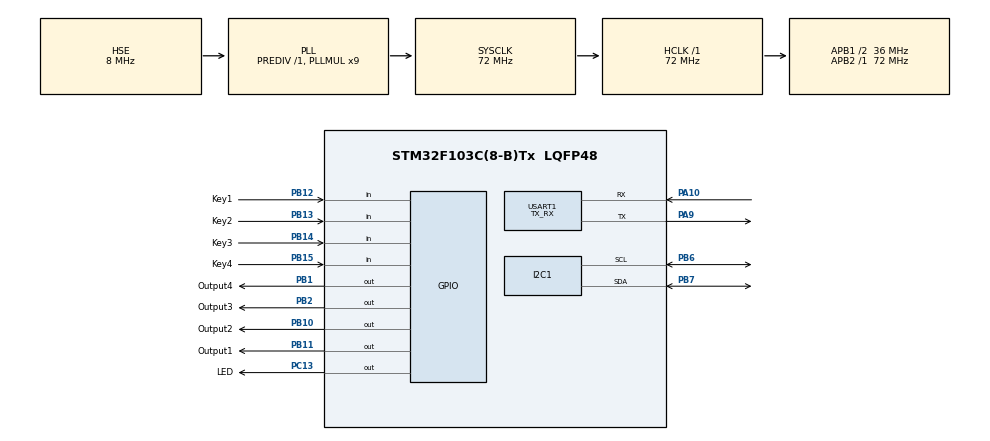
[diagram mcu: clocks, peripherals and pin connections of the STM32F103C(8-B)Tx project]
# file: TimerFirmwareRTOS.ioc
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Dma.Request0=USART1_RX
Dma.USART1_RX.0.Direction=DMA_PERIPH_TO_MEMORY
Dma.USART1_RX.0.Instance=DMA1_Channel5
Dma.USART1_RX.0.MemDataAlignment=DMA_MDATAALIGN_BYTE
Dma.USART1_RX.0.MemInc=DMA_MINC_ENABLE
Dma.USART1_RX.0.Mode=DMA_NORMAL
Dma.USART1_RX.0.PeriphDataAlignment=DMA_PDATAALIGN_BYTE
Dma.USART1_RX.0.PeriphInc=DMA_PINC_DISABLE
Dma.USART1_RX.0.Priority=DMA_PRIORITY_MEDIUM
FREERTOS.INCLUDE_vTaskDelayUntil=1
FREERTOS.MEMORY_ALLOCATION=1
FREERTOS.Tasks01=timerTask,2,128,StartTimerTask,Default,NULL,Static,timerTaskBuffer,timerTaskControlBlock
FREERTOS.configTOTAL_HEAP_SIZE=2048
FREERTOS.configUSE_TICKLESS_IDLE=0
FREERTOS.configUSE_TIMERS=1
Mcu.Family=STM32F1
Mcu.Name=STM32F103C(8-B)Tx
Mcu.Package=LQFP48
NVIC.DMA1_Channel5_IRQn=true\:5\:0\:false\:false\:true\:true\:false\:true
NVIC.PriorityGroup=NVIC_PRIORITYGROUP_4
NVIC.TIM1_UP_IRQn=true\:15\:0\:false\:false\:true\:false\:false\:true
NVIC.TimeBase=TIM1_UP_IRQn
NVIC.TimeBaseIP=TIM1
NVIC.USART1_IRQn=true\:5\:0\:false\:false\:true\:true\:true\:true
PA10.Mode=Asynchronous
PA10.Signal=USART1_RX
PA13.Mode=Serial_Wire
PA13.Signal=SYS_JTMS-SWDIO
PA14.Mode=Serial_Wire
PA14.Signal=SYS_JTCK-SWCLK
PA9.Mode=Asynchronous
PA9.Signal=USART1_TX
PB1.GPIO_Label=Output4
PB1.Signal=GPIO_Output
PB10.GPIO_Label=Output2
PB10.Signal=GPIO_Output
PB11.GPIO_Label=Output1
PB11.Signal=GPIO_Output
PB12.GPIO_Label=Key1
PB12.GPIO_PuPd=GPIO_PULLDOWN
PB12.Signal=GPIO_Input
PB13.GPIO_Label=Key2
PB13.GPIO_PuPd=GPIO_PULLDOWN
PB13.Signal=GPIO_Input
PB14.GPIO_Label=Key3
PB14.GPIO_PuPd=GPIO_PULLDOWN
PB14.Signal=GPIO_Input
PB15.GPIO_Label=Key4
PB15.GPIO_PuPd=GPIO_PULLDOWN
PB15.Signal=GPIO_Input
PB2.GPIO_Label=Output3
PB2.Signal=GPIO_Output
PB6.Mode=I2C
PB6.Signal=I2C1_SCL
PB7.Mode=I2C
PB7.Signal=I2C1_SDA
PC13-TAMPER-RTC.GPIO_Label=LED
PC13-TAMPER-RTC.GPIO_Speed=GPIO_SPEED_FREQ_MEDIUM
PC13-TAMPER-RTC.PinState=GPIO_PIN_SET
PC13-TAMPER-RTC.Signal=GPIO_Output
PC14-OSC32_IN.Mode=LSE-External-Oscillator
PC14-OSC32_IN.Signal=RCC_OSC32_IN
PC15-OSC32_OUT.Mode=LSE-External-Oscillator
PC15-OSC32_OUT.Signal=RCC_OSC32_OUT
PD0-OSC_IN.Mode=HSE-External-Oscillator
PD0-OSC_IN.Signal=RCC_OSC_IN
PD1-OSC_OUT.Mode=HSE-External-Oscillator
PD1-OSC_OUT.Signal=RCC_OSC_OUT
ProjectManager.HeapSize=0x200
ProjectManager.StackSize=0x400
ProjectManager.TargetToolchain=MDK-ARM V5.32
RCC.AHBFreq_Value=72000000
RCC.APB1CLKDivider=RCC_HCLK_DIV2
RCC.APB1Freq_Value=36000000
RCC.APB1TimFreq_Value=72000000
RCC.APB2Freq_Value=72000000
RCC.APB2TimFreq_Value=72000000
RCC.HCLKFreq_Value=72000000
RCC.PLLMUL=RCC_PLL_MUL9
RCC.PLLSourceVirtual=RCC_PLLSOURCE_HSE
RCC.RTCClockSelection=RCC_RTCCLKSOURCE_LSE
RCC.SYSCLKFreq_VALUE=72000000
RCC.SYSCLKSource=RCC_SYSCLKSOURCE_PLLCLK
RCC.USBFreq_Value=72000000
USART1.Mode=MODE_TX_RX
USART1.VirtualMode=VM_ASYNC
VP_FREERTOS_VS_CMSIS_V1.Mode=CMSIS_V1
VP_RTC_VS_RTC_Activate.Mode=RTC_Enabled
VP_RTC_VS_RTC_Calendar.Mode=RTC_Calendar
VP_SYS_VS_tim1.Mode=TIM1
board=custom

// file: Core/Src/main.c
/* USER CODE BEGIN Header */
/**
  ******************************************************************************
  * @file           : main.c
  * @brief          : Main program body
  ******************************************************************************
  * @attention
  *
  * Copyright (c) 2022 STMicroelectronics.
  * All rights reserved.
  *
  * This software is licensed under terms that can be found in the LICENSE file
  * in the root directory of this software component.
  * If no LICENSE file comes with this software, it is provided AS-IS.
  *
  ******************************************************************************
  */
/* USER CODE END Header */
#include "main.h"
#include "cmsis_os.h"

/* USER CODE BEGIN Includes */
#include "Timer.h"
#include "UserInterface.h"
#include "eeprom.h"
#include <string.h>
/* USER CODE END Includes */

I2C_HandleTypeDef hi2c1;
RTC_HandleTypeDef hrtc;
UART_HandleTypeDef huart1;
DMA_HandleTypeDef hdma_usart1_rx;

void SystemClock_Config(void);
static void MX_GPIO_Init(void);
static void MX_I2C1_Init(void);
static void MX_RTC_Init(void);
static void MX_DMA_Init(void);
static void MX_USART1_UART_Init(void);

int main(void)
{

  /* MCU Configuration--------------------------------------------------------*/

  /* Reset of all peripherals, Initializes the Flash interface and the Systick. */
  HAL_Init();

  /* Configure the system clock */
  SystemClock_Config();

  /* USER CODE BEGIN SysInit */
	HAL_Delay(3000);
  /* USER CODE END SysInit */

  /* Initialize all configured peripherals */
  MX_GPIO_Init();
  MX_I2C1_Init();
  MX_RTC_Init();
  MX_DMA_Init();
  MX_USART1_UART_Init();
  /* USER CODE BEGIN 2 */
  Timer_Init();
	UserInterface_Init();
  /* USER CODE END 2 */

  /* Create the thread(s) */

  /* Start scheduler */
  osKernelStart();

  /* We should never get here as control is now taken by the scheduler */
  /* Infinite loop */
  while (1)
  {

  }
}

void SystemClock_Config(void)
{
  RCC_OscInitTypeDef RCC_OscInitStruct = {0};
  RCC_ClkInitTypeDef RCC_ClkInitStruct = {0};
  RCC_PeriphCLKInitTypeDef PeriphClkInit = {0};

  /** Initializes the RCC Oscillators according to the specified parameters
  * in the RCC_OscInitTypeDef structure.
  */
  RCC_OscInitStruct.OscillatorType = RCC_OSCILLATORTYPE_HSE|RCC_OSCILLATORTYPE_LSE;
  RCC_OscInitStruct.HSEState = RCC_HSE_ON;
  RCC_OscInitStruct.HSEPredivValue = RCC_HSE_PREDIV_DIV1;
  RCC_OscInitStruct.LSEState = RCC_LSE_ON;
  RCC_OscInitStruct.HSIState = RCC_HSI_ON;
  RCC_OscInitStruct.PLL.PLLState = RCC_PLL_ON;
  RCC_OscInitStruct.PLL.PLLSource = RCC_PLLSOURCE_HSE;
  RCC_OscInitStruct.PLL.PLLMUL = RCC_PLL_MUL9;
  if (HAL_RCC_OscConfig(&RCC_OscInitStruct) != HAL_OK)
  {
    Error_Handler();
  }
  /** Initializes the CPU, AHB and APB buses clocks
  */
  RCC_ClkInitStruct.ClockType = RCC_CLOCKTYPE_HCLK|RCC_CLOCKTYPE_SYSCLK
                              |RCC_CLOCKTYPE_PCLK1|RCC_CLOCKTYPE_PCLK2;
  RCC_ClkInitStruct.SYSCLKSource = RCC_SYSCLKSOURCE_PLLCLK;
  RCC_ClkInitStruct.AHBCLKDivider = RCC_SYSCLK_DIV1;
  RCC_ClkInitStruct.APB1CLKDivider = RCC_HCLK_DIV2;
  RCC_ClkInitStruct.APB2CLKDivider = RCC_HCLK_DIV1;

  if (HAL_RCC_ClockConfig(&RCC_ClkInitStruct, FLASH_LATENCY_2) != HAL_OK)
  {
    Error_Handler();
  }
  PeriphClkInit.PeriphClockSelection = RCC_PERIPHCLK_RTC;
  PeriphClkInit.RTCClockSelection = RCC_RTCCLKSOURCE_LSE;
  if (HAL_RCCEx_PeriphCLKConfig(&PeriphClkInit) != HAL_OK)
  {
    Error_Handler();
  }
}

static void MX_I2C1_Init(void)
{

  hi2c1.Instance = I2C1;
  hi2c1.Init.ClockSpeed = 100000;
  hi2c1.Init.DutyCycle = I2C_DUTYCYCLE_2;
  hi2c1.Init.OwnAddress1 = 0;
  hi2c1.Init.AddressingMode = I2C_ADDRESSINGMODE_7BIT;
  hi2c1.Init.DualAddressMode = I2C_DUALADDRESS_DISABLE;
  hi2c1.Init.OwnAddress2 = 0;
  hi2c1.Init.GeneralCallMode = I2C_GENERALCALL_DISABLE;
  hi2c1.Init.NoStretchMode = I2C_NOSTRETCH_DISABLE;
  if (HAL_I2C_Init(&hi2c1) != HAL_OK)
  {
    Error_Handler();
  }

}

static void MX_RTC_Init(void)
{

  RTC_TimeTypeDef sTime = {0};
  RTC_DateTypeDef DateToUpdate = {0};

  /** Initialize RTC Only
  */
  hrtc.Instance = RTC;
  hrtc.Init.AsynchPrediv = RTC_AUTO_1_SECOND;
  hrtc.Init.OutPut = RTC_OUTPUTSOURCE_ALARM;
  if (HAL_RTC_Init(&hrtc) != HAL_OK)
  {
    Error_Handler();
  }

  /* USER CODE BEGIN Check_RTC_BKUP */
	if (HAL_RTCEx_BKUPRead(&hrtc, RTC_BKP_DR1) != 0x1235)
  {
  /* USER CODE END Check_RTC_BKUP */

		/** Initialize RTC and set the Time and Date
		*/
		sTime.Hours = 0x0;
		sTime.Minutes = 0x0;
		sTime.Seconds = 0x0;

		if (HAL_RTC_SetTime(&hrtc, &sTime, RTC_FORMAT_BCD) != HAL_OK)
		{
			Error_Handler();
		}
		DateToUpdate.WeekDay = RTC_WEEKDAY_MONDAY;
		DateToUpdate.Month = RTC_MONTH_JANUARY;
		DateToUpdate.Date = 0x1;
		DateToUpdate.Year = 0x0;

		if (HAL_RTC_SetDate(&hrtc, &DateToUpdate, RTC_FORMAT_BCD) != HAL_OK)
		{
			Error_Handler();
		}
		/* USER CODE BEGIN RTC_Init 2 */
		// Write Back Up Register 1 Data
    HAL_PWR_EnableBkUpAccess();
    // Writes a data in a RTC Backup data Register 1
    HAL_RTCEx_BKUPWrite(&hrtc, RTC_BKP_DR1, 0x1235);
    HAL_PWR_DisableBkUpAccess();
	}
  /* USER CODE END RTC_Init 2 */

}

static void MX_USART1_UART_Init(void)
{

  huart1.Instance = USART1;
  huart1.Init.BaudRate = 115200;
  huart1.Init.WordLength = UART_WORDLENGTH_8B;
  huart1.Init.StopBits = UART_STOPBITS_1;
  huart1.Init.Parity = UART_PARITY_NONE;
  huart1.Init.Mode = UART_MODE_TX_RX;
  huart1.Init.HwFlowCtl = UART_HWCONTROL_NONE;
  huart1.Init.OverSampling = UART_OVERSAMPLING_16;
  if (HAL_UART_Init(&huart1) != HAL_OK)
  {
    Error_Handler();
  }

}

static void MX_DMA_Init(void)
{

  /* DMA controller clock enable */
  __HAL_RCC_DMA1_CLK_ENABLE();

  /* DMA interrupt init */
  /* DMA1_Channel5_IRQn interrupt configuration */
  HAL_NVIC_SetPriority(DMA1_Channel5_IRQn, 5, 0);
  HAL_NVIC_EnableIRQ(DMA1_Channel5_IRQn);

}

static void MX_GPIO_Init(void)
{
  GPIO_InitTypeDef GPIO_InitStruct = {0};

  /* GPIO Ports Clock Enable */
  __HAL_RCC_GPIOC_CLK_ENABLE();
  __HAL_RCC_GPIOD_CLK_ENABLE();
  __HAL_RCC_GPIOB_CLK_ENABLE();
  __HAL_RCC_GPIOA_CLK_ENABLE();

  /*Configure GPIO pin Output Level */
  HAL_GPIO_WritePin(LED_GPIO_Port, LED_Pin, GPIO_PIN_SET);

  /*Configure GPIO pin Output Level */
  HAL_GPIO_WritePin(GPIOB, Output4_Pin|Output3_Pin|Output2_Pin|Output1_Pin, GPIO_PIN_RESET);

  /*Configure GPIO pin : LED_Pin */
  GPIO_InitStruct.Pin = LED_Pin;
  GPIO_InitStruct.Mode = GPIO_MODE_OUTPUT_PP;
  GPIO_InitStruct.Pull = GPIO_NOPULL;
  GPIO_InitStruct.Speed = GPIO_SPEED_FREQ_MEDIUM;
  HAL_GPIO_Init(LED_GPIO_Port, &GPIO_InitStruct);

  /*Configure GPIO pins : Output4_Pin Output3_Pin Output2_Pin Output1_Pin */
  GPIO_InitStruct.Pin = Output4_Pin|Output3_Pin|Output2_Pin|Output1_Pin;
  GPIO_InitStruct.Mode = GPIO_MODE_OUTPUT_PP;
  GPIO_InitStruct.Pull = GPIO_NOPULL;
  GPIO_InitStruct.Speed = GPIO_SPEED_FREQ_LOW;
  HAL_GPIO_Init(GPIOB, &GPIO_InitStruct);

  /*Configure GPIO pins : Key1_Pin Key2_Pin Key3_Pin Key4_Pin */
  GPIO_InitStruct.Pin = Key1_Pin|Key2_Pin|Key3_Pin|Key4_Pin;
  GPIO_InitStruct.Mode = GPIO_MODE_INPUT;
  GPIO_InitStruct.Pull = GPIO_PULLDOWN;
  HAL_GPIO_Init(GPIOB, &GPIO_InitStruct);

}

void HAL_TIM_PeriodElapsedCallback(TIM_HandleTypeDef *htim)
{
  if (htim->Instance == TIM1) {
    HAL_IncTick();
  }
}

void Error_Handler(void)
{
  __disable_irq();
  while (1)
  {
  }
}

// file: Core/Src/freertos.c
/* USER CODE BEGIN Header */
/**
  ******************************************************************************
  * File Name          : freertos.c
  * Description        : Code for freertos applications
  ******************************************************************************
  * @attention
  *
  * Copyright (c) 2022 STMicroelectronics.
  * All rights reserved.
  *
  * This software is licensed under terms that can be found in the LICENSE file
  * in the root directory of this software component.
  * If no LICENSE file comes with this software, it is provided AS-IS.
  *
  ******************************************************************************
  */
/* USER CODE END Header */

#include "FreeRTOS.h"
#include "task.h"
#include "main.h"

/* USER CODE BEGIN Includes */
#include "UserInterface.h"
#include "cmsis_os.h"

/* USER CODE END Includes */

/* USER CODE BEGIN Variables */
extern UiHandle uih;
extern osTimerId sleepTimerHandle;
extern osMutexId sleepTimerMutexHandle;
extern uint8_t sleepTimerCallbackExecuted;
/* USER CODE END Variables */

/* GetIdleTaskMemory prototype (linked to static allocation support) */
void vApplicationGetIdleTaskMemory( StaticTask_t **ppxIdleTaskTCBBuffer, StackType_t **ppxIdleTaskStackBuffer, uint32_t *pulIdleTaskStackSize );

/* GetTimerTaskMemory prototype (linked to static allocation support) */
void vApplicationGetTimerTaskMemory( StaticTask_t **ppxTimerTaskTCBBuffer, StackType_t **ppxTimerTaskStackBuffer, uint32_t *pulTimerTaskStackSize );

/* USER CODE BEGIN PREPOSTSLEEP */
__weak void PreSleepProcessing(uint32_t *ulExpectedIdleTime)
{
	if (sleepTimerCallbackExecuted == pdFALSE)
		return;

	if (xSemaphoreTake(sleepTimerMutexHandle, 0))
	{
		*ulExpectedIdleTime = 0;

		UserInterface_TurnOffScreen(&uih);
		xTimerStop(sleepTimerHandle, 100);

		HAL_EnableDBGSleepMode();
		__disable_irq();
		HAL_SuspendTick();
		__dsb( portSY_FULL_READ_WRITE );
		HAL_PWR_EnterSLEEPMode(PWR_MAINREGULATOR_ON, PWR_SLEEPENTRY_WFI);
		__isb( portSY_FULL_READ_WRITE );
		HAL_ResumeTick();
		__enable_irq();
		HAL_DisableDBGSleepMode();

		/*HAL_SuspendTick();
		__HAL_RCC_PWR_CLK_ENABLE();
		HAL_PWR_EnterSTOPMode(PWR_LOWPOWERREGULATOR_ON, PWR_STOPENTRY_WFE);
		HAL_ResumeTick();
		SystemClock_Config();*/

	} else {
		xTimerReset(sleepTimerHandle, 100);
		sleepTimerCallbackExecuted = pdFALSE;
	}
}

__weak void PostSleepProcessing(uint32_t *ulExpectedIdleTime)
{
	if (sleepTimerCallbackExecuted == pdFALSE)
		return;

	UserInterface_TurnOnScreen(&uih);
	xTimerReset(sleepTimerHandle, 100);
	sleepTimerCallbackExecuted = pdFALSE;
	xSemaphoreGive(sleepTimerMutexHandle);
}
/* USER CODE END PREPOSTSLEEP */

/* USER CODE BEGIN GET_IDLE_TASK_MEMORY */
static StaticTask_t xIdleTaskTCBBuffer;
static StackType_t xIdleStack[configMINIMAL_STACK_SIZE];

void vApplicationGetIdleTaskMemory( StaticTask_t **ppxIdleTaskTCBBuffer, StackType_t **ppxIdleTaskStackBuffer, uint32_t *pulIdleTaskStackSize )
{
  *ppxIdleTaskTCBBuffer = &xIdleTaskTCBBuffer;
  *ppxIdleTaskStackBuffer = &xIdleStack[0];
  *pulIdleTaskStackSize = configMINIMAL_STACK_SIZE;
  /* place for user code */
}
/* USER CODE END GET_IDLE_TASK_MEMORY */

/* USER CODE BEGIN GET_TIMER_TASK_MEMORY */
static StaticTask_t xTimerTaskTCBBuffer;
static StackType_t xTimerStack[configTIMER_TASK_STACK_DEPTH];

void vApplicationGetTimerTaskMemory( StaticTask_t **ppxTimerTaskTCBBuffer, StackType_t **ppxTimerTaskStackBuffer, uint32_t *pulTimerTaskStackSize )
{
  *ppxTimerTaskTCBBuffer = &xTimerTaskTCBBuffer;
  *ppxTimerTaskStackBuffer = &xTimerStack[0];
  *pulTimerTaskStackSize = configTIMER_TASK_STACK_DEPTH;
  /* place for user code */
}
/* USER CODE END GET_TIMER_TASK_MEMORY */
